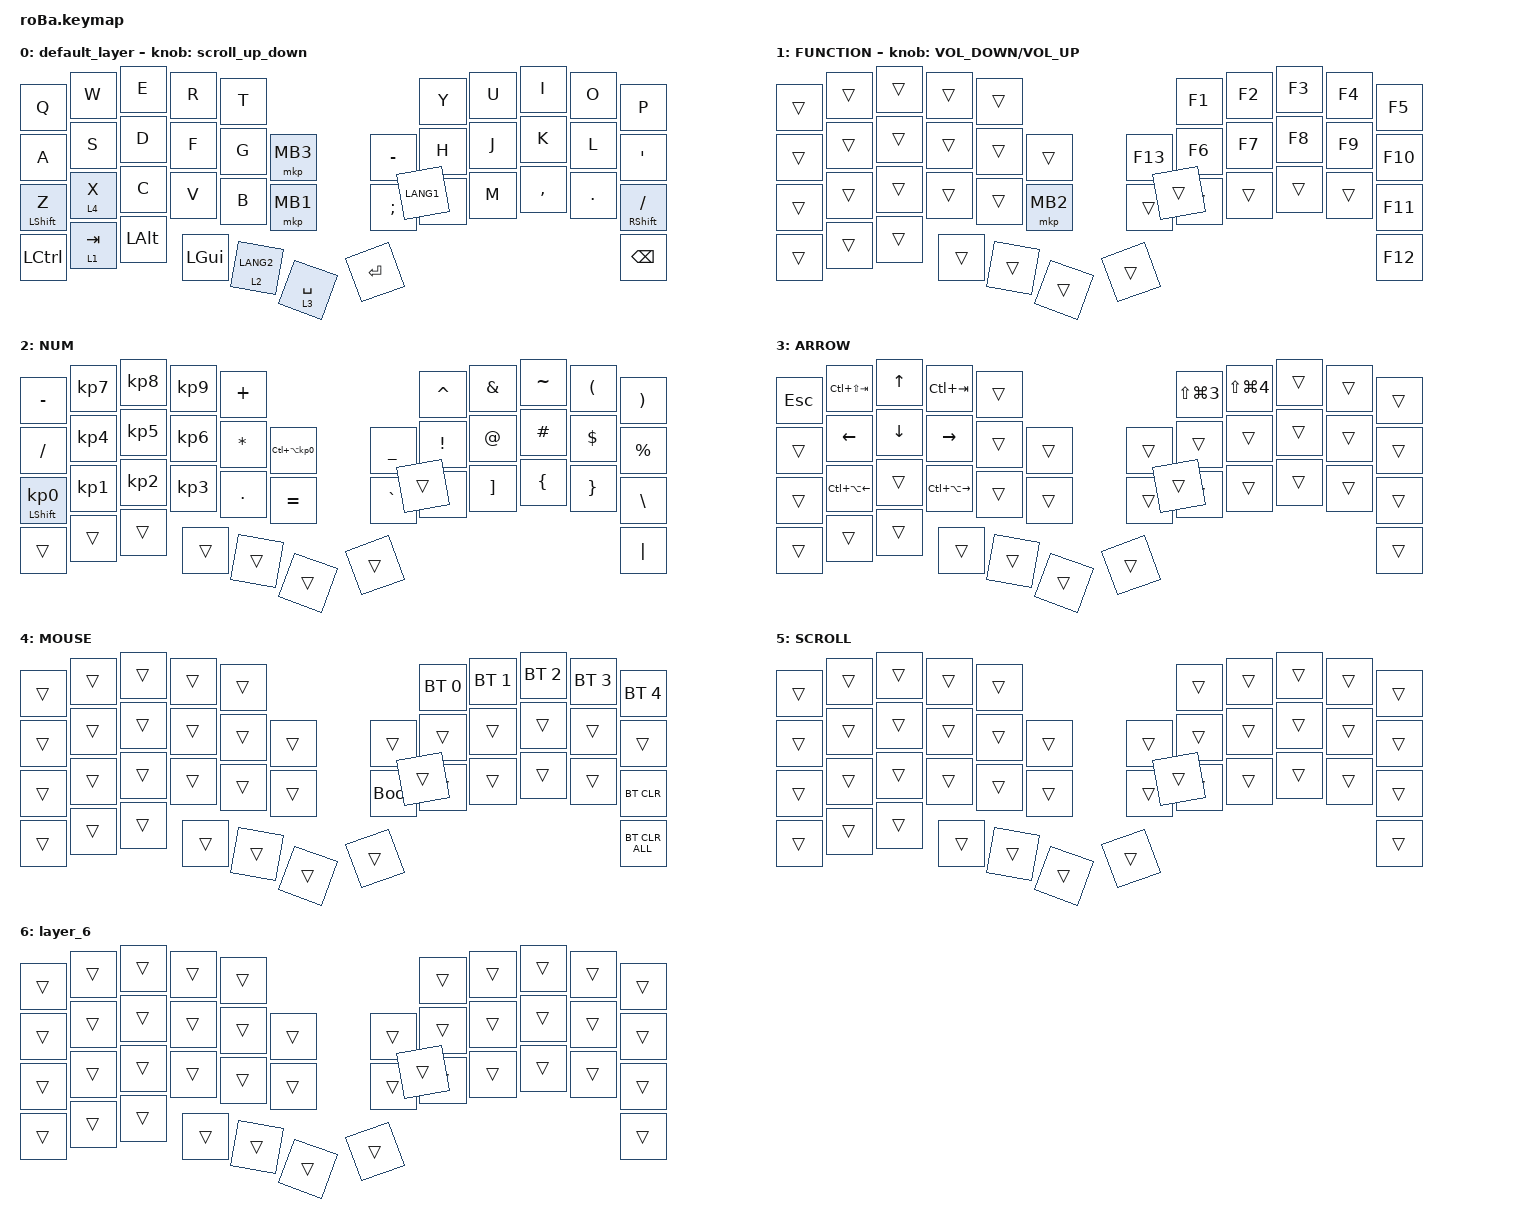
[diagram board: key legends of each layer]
#include <behaviors.dtsi>
#include <dt-bindings/zmk/bt.h>
#include <dt-bindings/zmk/keys.h>
#include <dt-bindings/zmk/pointing.h>

#define ZMK_POINTING_DEFAULT_SCRL_VAL 100
#define MOUSE 4
#define SCROLL 5
#define NUM 6

&mt {
    flavor = "balanced";
    quick-tap-ms = <0>;
};

/ {
    combos {
        compatible = "zmk,combos";

        tab {
            bindings = <&kp TAB>;
            key-positions = <11 12>;
        };

        shift_tab {
            bindings = <&kp LS(TAB)>;
            key-positions = <12 13>;
        };

        double_quotation {
            bindings = <&kp DOUBLE_QUOTES>;
            key-positions = <20 21>;
        };

        eq {
            bindings = <&kp EQUAL>;
            key-positions = <24 25>;
        };
    };

    behaviors {
        scroll_up_down: behavior_sensor_rotate_mouse_wheel_up_down {
            compatible = "zmk,behavior-sensor-rotate";
            #sensor-binding-cells = <0>;
            bindings = <&msc SCRL_DOWN>, <&msc SCRL_UP>;

            tap-ms = <20>;
        };
    };

    keymap {
        compatible = "zmk,keymap";

        default_layer {
            bindings = <
&kp Q             &kp W      &kp E         &kp R         &kp T                                        &kp Y      &kp U  &kp I      &kp O    &kp P
&kp A             &kp S      &kp D         &kp F         &kp G        &mkp MB3         &kp MINUS      &kp H      &kp J  &kp K      &kp L    &kp SQT
&mt LEFT_SHIFT Z  &lt 4 X    &kp C         &kp V         &kp B        &mkp MB1         &kp SEMICOLON  &kp N      &kp M  &kp COMMA  &kp DOT  &mt RIGHT_SHIFT SLASH
&kp LEFT_CONTROL  &lt 1 TAB  &kp LEFT_ALT  &kp LEFT_GUI  &lt 2 LANG2  &lt 3 SPACE      &kp ENTER      &kp LANG1                             &kp BACKSPACE
            >;

            sensor-bindings = <&scroll_up_down>;
        };

        FUNCTION {
            bindings = <
&trans  &trans  &trans  &trans  &trans                         &kp F1  &kp F2  &kp F3  &kp F4  &kp F5
&trans  &trans  &trans  &trans  &trans  &trans        &kp F13  &kp F6  &kp F7  &kp F8  &kp F9  &kp F10
&trans  &trans  &trans  &trans  &trans  &mkp MB2      &trans   &trans  &trans  &trans  &trans  &kp F11
&trans  &trans  &trans  &trans  &trans  &trans        &trans   &trans                          &kp F12
            >;

            sensor-bindings = <&inc_dec_kp C_VOLUME_DOWN C_VOLUME_UP>;
        };

        NUM {
            bindings = <
&kp MINUS                   &kp KP_NUMBER_7  &kp KP_NUMBER_8  &kp KP_NUMBER_9  &kp PLUS                                                   &kp CARET         &kp AMPERSAND      &kp TILDE       &kp LEFT_PARENTHESIS  &kp RIGHT_PARENTHESIS
&kp SLASH                   &kp KP_NUMBER_4  &kp KP_NUMBER_5  &kp KP_NUMBER_6  &kp ASTERISK  &kp LC(LA(KP_NUMBER_0))      &kp UNDERSCORE  &kp EXCLAMATION   &kp AT_SIGN        &kp HASH        &kp DOLLAR            &kp PERCENT
&mt LEFT_SHIFT KP_NUMBER_0  &kp KP_NUMBER_1  &kp KP_NUMBER_2  &kp KP_NUMBER_3  &kp PERIOD    &kp EQUAL                    &kp GRAVE       &kp LEFT_BRACKET  &kp RIGHT_BRACKET  &kp LEFT_BRACE  &kp RIGHT_BRACE       &kp BACKSLASH
&trans                      &trans           &trans           &trans           &trans        &trans                       &trans          &trans                                                                     &kp PIPE
            >;
        };

        ARROW {
            bindings = <
&kp ESCAPE  &kp LC(LS(TAB))         &kp UP_ARROW    &kp LC(TAB)              &trans                      &kp LS(LG(NUMBER_3))  &kp LS(LG(NUMBER_4))  &trans  &trans  &trans
&trans      &kp LEFT_ARROW          &kp DOWN_ARROW  &kp RIGHT_ARROW          &trans  &trans      &trans  &trans                &trans                &trans  &trans  &trans
&trans      &kp LC(LA(LEFT_ARROW))  &trans          &kp LC(LA(RIGHT_ARROW))  &trans  &trans      &trans  &trans                &trans                &trans  &trans  &trans
&trans      &trans                  &trans          &trans                   &trans  &trans      &trans  &trans                                                      &trans
            >;
        };

        MOUSE {
            bindings = <
&trans  &trans  &trans  &trans  &trans                           &bt BT_SEL 0  &bt BT_SEL 1  &bt BT_SEL 2  &bt BT_SEL 3  &bt BT_SEL 4
&trans  &trans  &trans  &trans  &trans  &trans      &trans       &trans        &trans        &trans        &trans        &trans
&trans  &trans  &trans  &trans  &trans  &trans      &bootloader  &trans        &trans        &trans        &trans        &bt BT_CLR
&trans  &trans  &trans  &trans  &trans  &trans      &trans       &trans                                                  &bt BT_CLR_ALL
            >;
        };

        SCROLL {
            bindings = <
&trans  &trans  &trans  &trans  &trans                      &trans  &trans  &trans  &trans  &trans
&trans  &trans  &trans  &trans  &trans  &trans      &trans  &trans  &trans  &trans  &trans  &trans
&trans  &trans  &trans  &trans  &trans  &trans      &trans  &trans  &trans  &trans  &trans  &trans
&trans  &trans  &trans  &trans  &trans  &trans      &trans  &trans                          &trans
            >;
        };

        layer_6 {
            bindings = <
&trans  &trans  &trans  &trans  &trans                      &trans  &trans  &trans  &trans  &trans
&trans  &trans  &trans  &trans  &trans  &trans      &trans  &trans  &trans  &trans  &trans  &trans
&trans  &trans  &trans  &trans  &trans  &trans      &trans  &trans  &trans  &trans  &trans  &trans
&trans  &trans  &trans  &trans  &trans  &trans      &trans  &trans                          &trans
            >;
        };
    };
};
